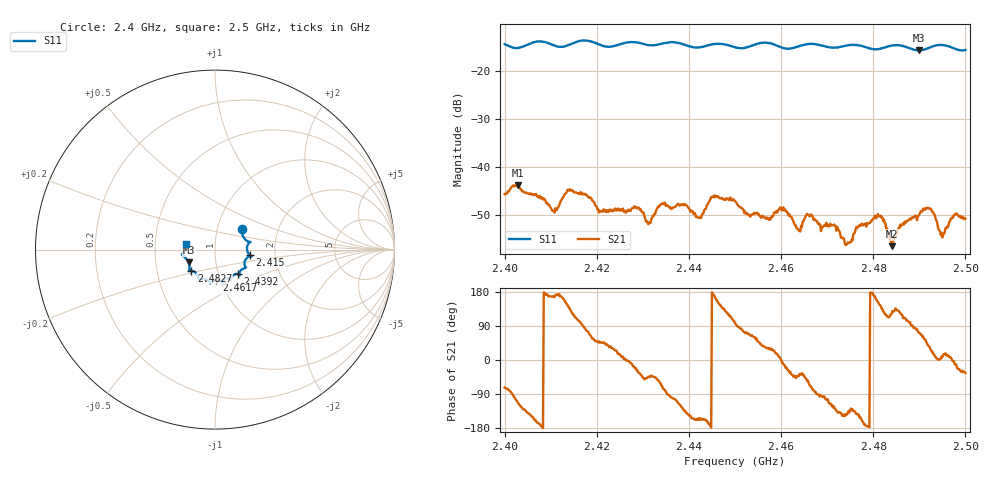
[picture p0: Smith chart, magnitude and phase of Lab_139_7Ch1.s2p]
# Hz S RI R 50
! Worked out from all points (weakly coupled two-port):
!   601 points, 2.4 GHz to 2.5 GHz, reference 50 ohm
!   highest |S21| = -43.90 dB at 2.4028 GHz (marker M1); lowest = -56.6 dB at 2.484 GHz (marker M2)
!   lowest |S11| = -15.7 dB at 2.4898 GHz (marker M3), VSWR 1.39, Z = 36.8 - j5.42 ohm
!   |S11| at or under -10 dB: start of sweep to end of sweep
!   S12 and S22 are empty: the file has one direction only
!   S11 on the Smith chart (normalised r, x): 2.4 GHz: 1.31, +0.31; 2.415 GHz: 1.48, -0.10; 2.4392 GHz: 1.24, -0.35; 2.4617 GHz: 0.96, -0.34; 2.4827 GHz: 0.75, -0.18; 2.5 GHz: 0.72, +0.05
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2.4e9  0.1514 0.115  0.00154 -0.00492  0 0  0 0
2.402833e9  0.1585 0.0695  -0.00238 -0.00592  0 0  0 0
2.410833e9  0.1818 0.0246  -0.00322 0.000788  0 0  0 0
2.415e9  0.1934 -0.0316  -0.00265 0.00471  0 0  0 0
2.416667e9  0.2034 -0.0383  -0.000489 0.00513  0 0  0 0
2.431167e9  0.1484 -0.1117  0.0018 -0.00174  0 0  0 0
2.433333e9  0.1362 -0.1302  0.00227 -0.0031  0 0  0 0
2.439167e9  0.1282 -0.1356  -0.0028 -0.00289  0 0  0 0
2.442167e9  0.0996 -0.1447  -0.00261 -0.00131  0 0  0 0
2.445333e9  0.0883 -0.1682  -0.00491 0.00069  0 0  0 0
2.45e9  0.0713 -0.1614  -0.000568 0.00434  0 0  0 0
2.461667e9  0.0081 -0.1701  0.00267 -0.00153  0 0  0 0
2.463833e9  -0.019 -0.1795  0.00157 -0.00145  0 0  0 0
2.466667e9  -0.027 -0.1896  0.000898 -0.00298  0 0  0 0
2.474333e9  -0.0819 -0.1651  -0.00125 -0.00092  0 0  0 0
2.482667e9  -0.1318 -0.1174  -0.00126 0.0022  0 0  0 0
2.483333e9  -0.1376 -0.1169  -0.000735 0.00176  0 0  0 0
2.484e9  -0.1418 -0.1169  -0.000778 0.00126  0 0  0 0
2.489833e9  -0.147 -0.0716  0.000923 0.00293  0 0  0 0
2.492333e9  -0.1714 -0.0397  0.00311 0.00187  0 0  0 0
2.495e9  -0.1843 -0.0273  0.00181 0.000229  0 0  0 0
2.5e9  -0.162 0.0316  0.00237 -0.00161  0 0  0 0
